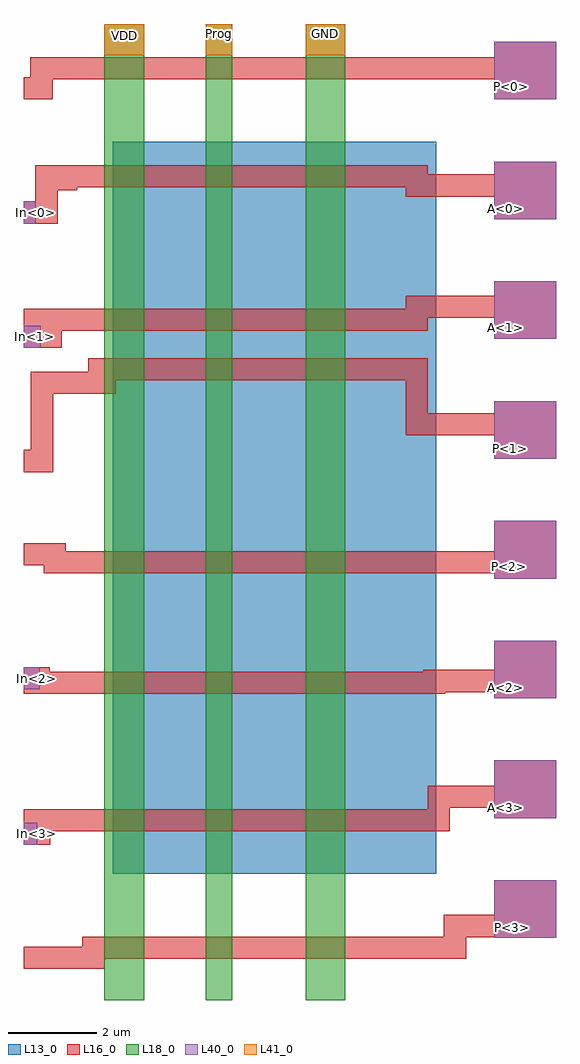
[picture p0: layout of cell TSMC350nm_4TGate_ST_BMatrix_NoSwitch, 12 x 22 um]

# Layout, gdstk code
import gdstk
lib = gdstk.Library(unit=1e-6, precision=1e-09)
def R(c, l, rs):  # rectangles x0, y0, x1, y1
    for r in rs: c.add(gdstk.rectangle(r[:2], r[2:], *l))
def A(c, l, x, y, w, h, nx, ny, dx, dy):  # array of equal rectangles
    R(c, l, [(x+i*dx, y+j*dy, x+i*dx+w, y+j*dy+h) for i in range(nx) for j in range(ny)])
L13_0 = (13, 0)
L16_0 = (16, 0)
L18_0 = (18, 0)
L40_0 = (40, 0)
L41_0 = (41, 0)

tsmc350nm_4tgate_st_bmat = lib.new_cell('TSMC350nm_4TGate_ST_BMatrix_NoSwitch')
R(tsmc350nm_4tgate_st_bmat, L13_0, [(2.01,2.85,9.3,19.35)])
A(tsmc350nm_4tgate_st_bmat, L16_0, 10.6, 1.4, 1.4, 1.3, 1, 8, 0, 2.7)
R(tsmc350nm_4tgate_st_bmat, L16_0, [(0,3.5,0.6,3.8), (0,7.4,0.59,7.5), (1.45,13.66,2.07,14.47), (0,14.7,0.85,15.08), (0.76,18.25,1.2,18.32)])
A(tsmc350nm_4tgate_st_bmat, L40_0, 10.6, 1.4, 1.4, 1.3, 1, 8, 0, 2.7)
R(tsmc350nm_4tgate_st_bmat, L40_0, [(0,3.5,0.3,4), (0,7,0.36,7.5), (0,14.7,0.38,15.2), (0,17.5,0.27,18)])
R(tsmc350nm_4tgate_st_bmat, L41_0, [(1.81,21.3,2.71,22), (4.1,21.3,4.7,22), (6.35,21.3,7.25,22)])
tsmc350nm_4tgate_st_bmat.add(gdstk.FlexPath([(10.61,18.36),(8.86,18.36)], 0.5, ends=(0, 0.25), simple_path=True, layer=16, datatype=0))  # L16_0
tsmc350nm_4tgate_st_bmat.add(gdstk.FlexPath([(8.86,18.36),(8.86,18.57)], 0.5, ends="extended", simple_path=True, layer=16, datatype=0))  # L16_0
tsmc350nm_4tgate_st_bmat.add(gdstk.FlexPath([(8.86,15.63),(10.6,15.63)], 0.5, ends=(0.25, 0), simple_path=True, layer=16, datatype=0))  # L16_0
tsmc350nm_4tgate_st_bmat.add(gdstk.FlexPath([(0.51,17.75),(0.51,18.57)], 0.5, ends="extended", simple_path=True, layer=16, datatype=0))  # L16_0
tsmc350nm_4tgate_st_bmat.add(gdstk.FlexPath([(0,17.75),(0.51,17.75)], 0.5, ends=(0, 0.25), simple_path=True, layer=16, datatype=0))  # L16_0
tsmc350nm_4tgate_st_bmat.add(gdstk.FlexPath([(8.86,14.22),(1.81,14.22)], 0.5, ends=(0.25, 0), simple_path=True, layer=16, datatype=0))  # L16_0
tsmc350nm_4tgate_st_bmat.add(gdstk.FlexPath([(0.41,12.15),(0.41,13.91)], 0.5, ends="extended", simple_path=True, layer=16, datatype=0))  # L16_0
tsmc350nm_4tgate_st_bmat.add(gdstk.FlexPath([(0.7,9.87),(10.6,9.87)], 0.5, ends=(0.25, 0), simple_path=True, layer=16, datatype=0))  # L16_0
tsmc350nm_4tgate_st_bmat.add(gdstk.FlexPath([(0,12.15),(0.41,12.15)], 0.5, ends=(0, 0.25), simple_path=True, layer=16, datatype=0))  # L16_0
tsmc350nm_4tgate_st_bmat.add(gdstk.FlexPath([(10.6,21),(0.4,21)], 0.5, ends=(0, 0.25), simple_path=True, layer=16, datatype=0))  # L16_0
tsmc350nm_4tgate_st_bmat.add(gdstk.FlexPath([(0,20.55),(0.4,20.55)], 0.5, ends=(0, 0.25), simple_path=True, layer=16, datatype=0))  # L16_0
tsmc350nm_4tgate_st_bmat.add(gdstk.FlexPath([(0.4,20.55),(0.4,21)], 0.5, ends="extended", simple_path=True, layer=16, datatype=0))  # L16_0
tsmc350nm_4tgate_st_bmat.add(gdstk.FlexPath([(0.4,21),(0.15,21)], 0.5, ends=(0.25, 0), simple_path=True, layer=16, datatype=0))  # L16_0
tsmc350nm_4tgate_st_bmat.add(gdstk.FlexPath([(0.4,21),(0.4,21.25)], 0.5, ends=(0.25, 0), simple_path=True, layer=16, datatype=0))  # L16_0
tsmc350nm_4tgate_st_bmat.add(gdstk.FlexPath([(0,0.95),(1.57,0.95)], 0.5, ends=(0, 0.25), simple_path=True, layer=16, datatype=0))  # L16_0
tsmc350nm_4tgate_st_bmat.add(gdstk.FlexPath([(1.57,0.95),(1.57,1.18)], 0.5, ends="extended", simple_path=True, layer=16, datatype=0))  # L16_0
tsmc350nm_4tgate_st_bmat.add(gdstk.FlexPath([(1.57,1.18),(9.72,1.18)], 0.5, ends="extended", simple_path=True, layer=16, datatype=0))  # L16_0
tsmc350nm_4tgate_st_bmat.add(gdstk.FlexPath([(0.41,13.91),(1.81,13.91)], 0.5, ends=(0.25, 0), simple_path=True, layer=16, datatype=0))  # L16_0
tsmc350nm_4tgate_st_bmat.add(gdstk.FlexPath([(0,10.05),(0.7,10.05)], 0.5, ends=(0, 0.25), simple_path=True, layer=16, datatype=0))  # L16_0
tsmc350nm_4tgate_st_bmat.add(gdstk.FlexPath([(0.7,10.05),(0.7,9.87)], 0.5, ends="extended", simple_path=True, layer=16, datatype=0))  # L16_0
tsmc350nm_4tgate_st_bmat.add(gdstk.FlexPath([(9.72,1.18),(9.72,1.67)], 0.5, ends="extended", simple_path=True, layer=16, datatype=0))  # L16_0
tsmc350nm_4tgate_st_bmat.add(gdstk.FlexPath([(9.72,1.67),(10.6,1.67)], 0.5, ends=(0.25, 0), simple_path=True, layer=16, datatype=0))  # L16_0
tsmc350nm_4tgate_st_bmat.add(gdstk.FlexPath([(0,15.33),(7.51,15.33)], 0.5, ends="flush", simple_path=True, layer=16, datatype=0))  # L16_0
tsmc350nm_4tgate_st_bmat.add(gdstk.FlexPath([(9.35,4.05),(9.35,4.58)], 0.5, ends="extended", simple_path=True, layer=16, datatype=0))  # L16_0
tsmc350nm_4tgate_st_bmat.add(gdstk.FlexPath([(0.51,18.57),(7.51,18.57)], 0.5, ends=(0.25, 0), simple_path=True, layer=16, datatype=0))  # L16_0
tsmc350nm_4tgate_st_bmat.add(gdstk.FlexPath([(0,7.15),(7.76,7.15)], 0.5, ends="flush", simple_path=True, layer=16, datatype=0))  # L16_0
tsmc350nm_4tgate_st_bmat.add(gdstk.FlexPath([(1.2,4.05),(9.35,4.05)], 0.5, ends=(0, 0.25), simple_path=True, layer=16, datatype=0))  # L16_0
tsmc350nm_4tgate_st_bmat.add(gdstk.FlexPath([(9.35,4.58),(10.6,4.58)], 0.5, ends=(0.25, 0), simple_path=True, layer=16, datatype=0))  # L16_0
tsmc350nm_4tgate_st_bmat.add(gdstk.FlexPath([(9.25,7.15),(9.25,7.19)], 0.5, ends="extended", simple_path=True, layer=16, datatype=0))  # L16_0
tsmc350nm_4tgate_st_bmat.add(gdstk.FlexPath([(9.25,7.19),(10.6,7.19)], 0.5, ends=(0.25, 0), simple_path=True, layer=16, datatype=0))  # L16_0
tsmc350nm_4tgate_st_bmat.add(gdstk.FlexPath([(8.86,18.57),(1.2,18.57)], 0.5, ends=(0.25, 0), simple_path=True, layer=16, datatype=0))  # L16_0
tsmc350nm_4tgate_st_bmat.add(gdstk.FlexPath([(1.2,15.33),(8.86,15.33)], 0.5, ends=(0, 0.25), simple_path=True, layer=16, datatype=0))  # L16_0
tsmc350nm_4tgate_st_bmat.add(gdstk.FlexPath([(8.86,12.98),(8.86,14.22)], 0.5, ends="extended", simple_path=True, layer=16, datatype=0))  # L16_0
tsmc350nm_4tgate_st_bmat.add(gdstk.FlexPath([(1.2,7.15),(9.25,7.15)], 0.5, ends=(0, 0.25), simple_path=True, layer=16, datatype=0))  # L16_0
tsmc350nm_4tgate_st_bmat.add(gdstk.FlexPath([(10.6,12.98),(8.86,12.98)], 0.5, ends=(0, 0.25), simple_path=True, layer=16, datatype=0))  # L16_0
tsmc350nm_4tgate_st_bmat.add(gdstk.FlexPath([(8.86,15.33),(8.86,15.63)], 0.5, ends="extended", simple_path=True, layer=16, datatype=0))  # L16_0
tsmc350nm_4tgate_st_bmat.add(gdstk.FlexPath([(0,4.05),(7.76,4.05)], 0.5, ends="flush", simple_path=True, layer=16, datatype=0))  # L16_0
tsmc350nm_4tgate_st_bmat.add(gdstk.FlexPath([(4.4,0),(4.4,22)], 0.6, ends="flush", simple_path=True, layer=18, datatype=0))  # L18_0
tsmc350nm_4tgate_st_bmat.add(gdstk.FlexPath([(2.26,0),(2.26,22)], 0.9, ends="flush", simple_path=True, layer=18, datatype=0))  # L18_0
tsmc350nm_4tgate_st_bmat.add(gdstk.FlexPath([(6.8,0),(6.8,22)], 0.9, ends="flush", simple_path=True, layer=18, datatype=0))  # L18_0
tsmc350nm_4tgate_st_bmat.add(gdstk.Label('In<0>', (0.26,17.75), layer=40, texttype=0))
tsmc350nm_4tgate_st_bmat.add(gdstk.Label('In<1>', (0.24,14.96), layer=40, texttype=0))
tsmc350nm_4tgate_st_bmat.add(gdstk.Label('In<2>', (0.29,7.25), layer=40, texttype=0))
tsmc350nm_4tgate_st_bmat.add(gdstk.Label('In<3>', (0.29,3.75), layer=40, texttype=0))
tsmc350nm_4tgate_st_bmat.add(gdstk.Label('A<0>', (10.86,17.85), layer=40, texttype=0))
tsmc350nm_4tgate_st_bmat.add(gdstk.Label('A<1>', (10.86,15.15), layer=40, texttype=0))
tsmc350nm_4tgate_st_bmat.add(gdstk.Label('A<2>', (10.85,7.05), layer=40, texttype=0))
tsmc350nm_4tgate_st_bmat.add(gdstk.Label('A<3>', (10.85,4.35), layer=40, texttype=0))
tsmc350nm_4tgate_st_bmat.add(gdstk.Label('P<0>', (10.99,20.59), layer=40, texttype=0))
tsmc350nm_4tgate_st_bmat.add(gdstk.Label('P<1>', (10.98,12.43), layer=40, texttype=0))
tsmc350nm_4tgate_st_bmat.add(gdstk.Label('P<2>', (10.94,9.77), layer=40, texttype=0))
tsmc350nm_4tgate_st_bmat.add(gdstk.Label('P<3>', (11.01,1.63), layer=40, texttype=0))
tsmc350nm_4tgate_st_bmat.add(gdstk.Label('Prog', (4.4,21.78), layer=41, texttype=0))
tsmc350nm_4tgate_st_bmat.add(gdstk.Label('VDD', (2.26,21.75), layer=41, texttype=0))
tsmc350nm_4tgate_st_bmat.add(gdstk.Label('GND', (6.8,21.78), layer=41, texttype=0))

lib.write_gds('TSMC350nm_4TGate_ST_BMatrix_NoSwitch.gds')
